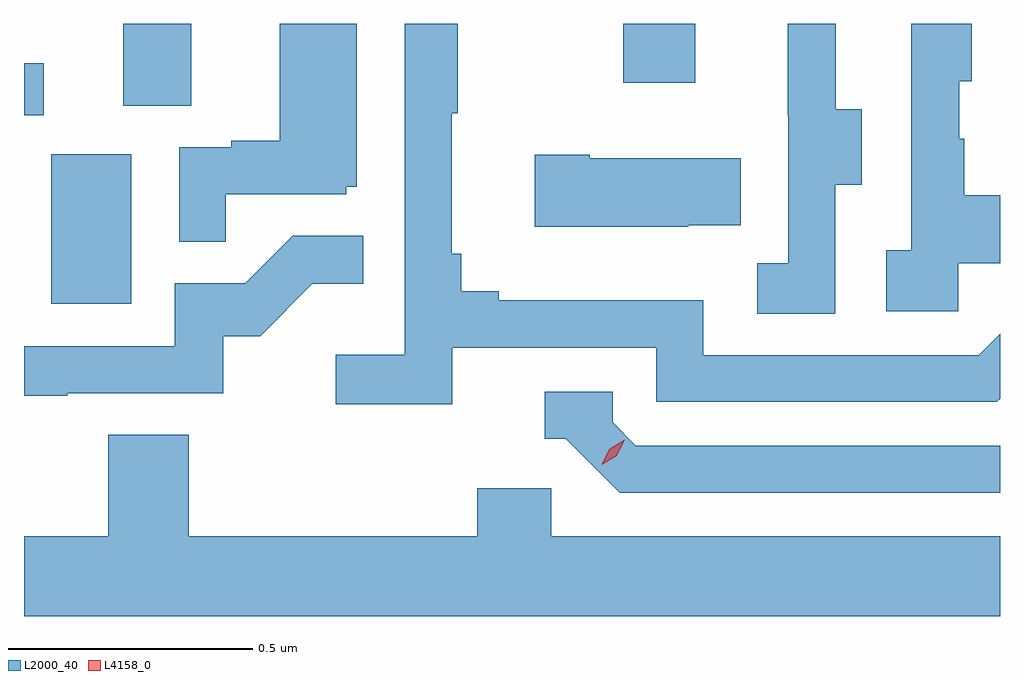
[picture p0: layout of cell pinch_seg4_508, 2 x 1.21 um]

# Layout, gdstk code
import gdstk
lib = gdstk.Library(unit=1e-6, precision=1e-09)
def R(c, l, rs):  # rectangles x0, y0, x1, y1
    for r in rs: c.add(gdstk.rectangle(r[:2], r[2:], *l))
def P(c, l, *ps):  # polygons
    for p in ps: c.add(gdstk.Polygon(p, *l))
L2000_40 = (2000, 40)
L4158_0 = (4158, 0)

pinch_seg4_508 = lib.new_cell('pinch_seg4_508')
R(pinch_seg4_508, L2000_40, [(964.298,762.828,964.462,763.135), (964.242,763.215,964.282,763.321), (964.445,763.234,964.585,763.402), (965.47,763.281,965.617,763.402)])
P(pinch_seg4_508, L2000_40, [(965.12,762.738),(965.538,762.738),(965.538,762.627),(966.235,762.627),(966.242,762.634),(966.242,762.767),(966.198,762.723),(965.634,762.723),(965.634,762.835),(965.215,762.835),(965.215,762.854),(965.138,762.854),(965.138,762.931),(965.119,762.931),(965.119,763.219),(965.131,763.219),(965.131,763.402),(965.022,763.402),(965.022,762.724),(964.881,762.724),(964.881,762.622),(965.12,762.622)],
  [(966.156,762.911),(966.242,762.911),(966.242,763.051),(966.169,763.051),(966.169,763.166),(966.159,763.166),(966.159,763.284),(966.184,763.284),(966.184,763.402),(966.06,763.402),(966.06,762.938),(966.009,762.938),(966.009,762.813),(966.156,762.813)],
  [(965.904,763.072),(965.959,763.072),(965.959,763.227),(965.905,763.227),(965.905,763.402),(965.807,763.402),(965.807,763.215),(965.808,763.215),(965.808,762.911),(965.745,762.911),(965.745,762.808),(965.904,762.808)],
  [(964.655,763.053),(964.902,763.053),(964.902,763.068),(964.924,763.068),(964.924,763.402),(964.766,763.402),(964.766,763.162),(964.667,763.162),(964.667,763.149),(964.56,763.149),(964.56,762.955),(964.655,762.955)],
  [(965.603,762.989),(965.711,762.989),(965.711,763.126),(965.401,763.126),(965.401,763.134),(965.289,763.134),(965.289,762.986),(965.603,762.986)],
  [(964.331,762.645),(964.65,762.645),(964.65,762.762),(964.726,762.762),(964.833,762.869),(964.937,762.869),(964.937,762.968),(964.793,762.968),(964.695,762.87),(964.551,762.87),(964.551,762.741),(964.242,762.741),(964.242,762.64),(964.331,762.64)],
  [(966.242,762.537),(965.496,762.537),(965.448,762.585),(965.448,762.648),(965.309,762.648),(965.309,762.552),(965.352,762.552),(965.463,762.441),(966.242,762.441)],
  [(966.242,762.352),(965.322,762.352),(965.322,762.45),(965.171,762.45),(965.171,762.352),(964.58,762.352),(964.58,762.56),(964.415,762.56),(964.415,762.352),(964.242,762.352),(964.242,762.188),(966.242,762.188)])
P(pinch_seg4_508, L4158_0, [(965.426,762.498),(965.426,762.499),(965.442,762.531),(965.473,762.55),(965.473,762.55),(965.473,762.55),(965.457,762.517),(965.426,762.498)])

lib.write_gds('pinch_seg4_508.gds')
